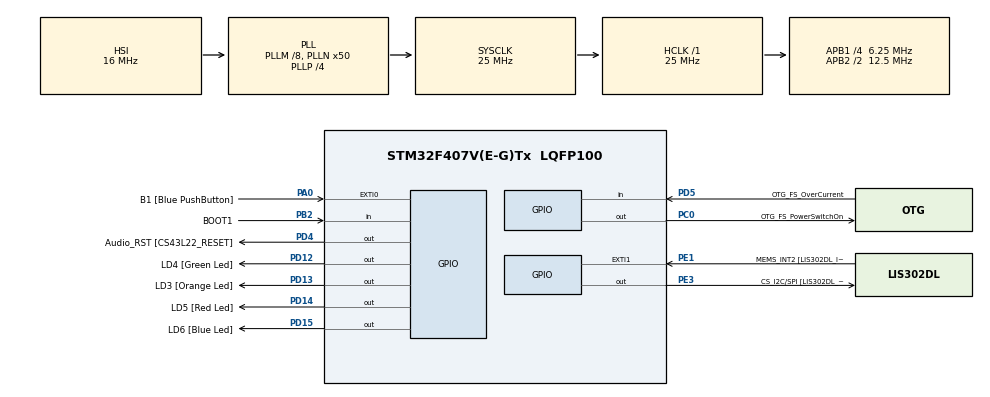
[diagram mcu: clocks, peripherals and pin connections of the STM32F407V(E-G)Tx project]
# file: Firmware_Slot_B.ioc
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Mcu.Family=STM32F4
Mcu.Name=STM32F407V(E-G)Tx
Mcu.Package=LQFP100
NVIC.PriorityGroup=NVIC_PRIORITYGROUP_0
PA0-WKUP.GPIO_Label=B1 [Blue PushButton]
PA0-WKUP.Signal=GPXTI0
PA10.GPIO_Label=OTG_FS_ID
PA10.GPIO_Mode=GPIO_MODE_AF_PP
PA10.GPIO_PuPd=GPIO_NOPULL
PA10.GPIO_Speed=GPIO_SPEED_FREQ_LOW
PA10.Signal=USB_OTG_FS_ID
PA11.GPIO_Label=OTG_FS_DM
PA11.GPIO_Mode=GPIO_MODE_AF_PP
PA11.GPIO_PuPd=GPIO_NOPULL
PA11.GPIO_Speed=GPIO_SPEED_FREQ_LOW
PA11.Signal=USB_OTG_FS_DM
PA12.GPIO_Label=OTG_FS_DP
PA12.GPIO_Mode=GPIO_MODE_AF_PP
PA12.GPIO_PuPd=GPIO_NOPULL
PA12.GPIO_Speed=GPIO_SPEED_FREQ_LOW
PA12.Signal=USB_OTG_FS_DP
PA13.GPIO_Label=SWDIO
PA13.Signal=SYS_JTMS-SWDIO
PA14.GPIO_Label=SWCLK
PA14.Signal=SYS_JTCK-SWCLK
PA4.GPIO_Label=I2S3_WS [CS43L22_LRCK]
PA4.GPIO_Mode=GPIO_MODE_AF_PP
PA4.GPIO_PuPd=GPIO_NOPULL
PA4.GPIO_Speed=GPIO_SPEED_FREQ_LOW
PA4.Signal=I2S3_WS
PA5.GPIO_Label=SPI1_SCK [LIS302DL_SCL/SPC]
PA5.GPIO_Mode=GPIO_MODE_AF_PP
PA5.GPIO_PuPd=GPIO_NOPULL
PA5.GPIO_Speed=GPIO_SPEED_FREQ_LOW
PA5.Signal=SPI1_SCK
PA6.GPIO_Label=SPI1_MISO [LIS302DL_SDO]
PA6.GPIO_Mode=GPIO_MODE_AF_PP
PA6.GPIO_PuPd=GPIO_NOPULL
PA6.GPIO_Speed=GPIO_SPEED_FREQ_LOW
PA6.Signal=SPI1_MISO
PA7.GPIO_Label=SPI1_MOSI [LIS302DL_SDA/SDI/SDO]
PA7.GPIO_Mode=GPIO_MODE_AF_PP
PA7.GPIO_PuPd=GPIO_NOPULL
PA7.GPIO_Speed=GPIO_SPEED_FREQ_LOW
PA7.Signal=SPI1_MOSI
PA9.GPIO_Label=VBUS_FS
PA9.GPIO_Mode=GPIO_MODE_INPUT
PA9.GPIO_PuPd=GPIO_NOPULL
PA9.Signal=USB_OTG_FS_VBUS
PB10.GPIO_Label=CLK_IN [MP45DT02_CLK]
PB10.GPIO_Mode=GPIO_MODE_AF_PP
PB10.GPIO_PuPd=GPIO_NOPULL
PB10.GPIO_Speed=GPIO_SPEED_FREQ_LOW
PB10.Signal=I2S2_CK
PB2.GPIO_Label=BOOT1
PB2.GPIO_Mode=GPIO_MODE_INPUT
PB2.GPIO_PuPd=GPIO_NOPULL
PB2.Signal=GPIO_Input
PB3.GPIO_Label=SWO
PB3.Signal=SYS_JTDO-SWO
PB6.GPIO_Label=Audio_SCL [CS43L22_SCL]
PB6.GPIO_Mode=GPIO_MODE_AF_OD
PB6.GPIO_PuPd=GPIO_NOPULL
PB6.GPIO_Speed=GPIO_SPEED_FREQ_LOW
PB6.Signal=I2C1_SCL
PB9.GPIO_Label=Audio_SDA [CS43L22_SDA]
PB9.GPIO_Mode=GPIO_MODE_AF_OD
PB9.GPIO_PuPd=GPIO_NOPULL
PB9.GPIO_Speed=GPIO_SPEED_FREQ_LOW
PB9.Signal=I2C1_SDA
PC0.GPIO_Label=OTG_FS_PowerSwitchOn
PC0.GPIO_PuPd=GPIO_NOPULL
PC0.GPIO_Speed=GPIO_SPEED_FREQ_LOW
PC0.PinState=GPIO_PIN_SET
PC0.Signal=GPIO_Output
PC10.GPIO_Label=I2S3_SCK [CS43L22_SCLK]
PC10.GPIO_Mode=GPIO_MODE_AF_PP
PC10.GPIO_PuPd=GPIO_NOPULL
PC10.GPIO_Speed=GPIO_SPEED_FREQ_LOW
PC10.Signal=I2S3_CK
PC12.GPIO_Label=I2S3_SD [CS43L22_SDIN]
PC12.GPIO_Mode=GPIO_MODE_AF_PP
PC12.GPIO_PuPd=GPIO_NOPULL
PC12.GPIO_Speed=GPIO_SPEED_FREQ_LOW
PC12.Signal=I2S3_SD
PC14-OSC32_IN.GPIO_Label=PC14-OSC32_IN
PC14-OSC32_IN.Signal=RCC_OSC32_IN
PC15-OSC32_OUT.GPIO_Label=PC15-OSC32_OUT
PC15-OSC32_OUT.Signal=RCC_OSC32_OUT
PC3.GPIO_Label=PDM_OUT [MP45DT02_DOUT]
PC3.GPIO_Mode=GPIO_MODE_AF_PP
PC3.GPIO_PuPd=GPIO_NOPULL
PC3.GPIO_Speed=GPIO_SPEED_FREQ_LOW
PC3.Signal=I2S2_SD
PC7.GPIO_Label=I2S3_MCK [CS43L22_MCLK]
PC7.GPIO_Mode=GPIO_MODE_AF_PP
PC7.GPIO_PuPd=GPIO_NOPULL
PC7.GPIO_Speed=GPIO_SPEED_FREQ_LOW
PC7.Signal=I2S3_MCK
PD12.GPIO_Label=LD4 [Green Led]
PD12.GPIO_PuPd=GPIO_NOPULL
PD12.GPIO_Speed=GPIO_SPEED_FREQ_LOW
PD12.Signal=GPIO_Output
PD13.GPIO_Label=LD3 [Orange Led]
PD13.GPIO_PuPd=GPIO_NOPULL
PD13.GPIO_Speed=GPIO_SPEED_FREQ_LOW
PD13.Signal=GPIO_Output
PD14.GPIO_Label=LD5 [Red Led]
PD14.GPIO_PuPd=GPIO_NOPULL
PD14.GPIO_Speed=GPIO_SPEED_FREQ_LOW
PD14.Signal=GPIO_Output
PD15.GPIO_Label=LD6 [Blue Led]
PD15.GPIO_PuPd=GPIO_NOPULL
PD15.GPIO_Speed=GPIO_SPEED_FREQ_LOW
PD15.Signal=GPIO_Output
PD4.GPIO_Label=Audio_RST [CS43L22_RESET]
PD4.GPIO_PuPd=GPIO_NOPULL
PD4.GPIO_Speed=GPIO_SPEED_FREQ_LOW
PD4.Signal=GPIO_Output
PD5.GPIO_Label=OTG_FS_OverCurrent
PD5.GPIO_Mode=GPIO_MODE_INPUT
PD5.GPIO_PuPd=GPIO_NOPULL
PD5.Signal=GPIO_Input
PE1.GPIO_Label=MEMS_INT2 [LIS302DL_INT2]
PE1.GPIO_ModeDefaultEXTI=GPIO_MODE_EVT_RISING
PE1.GPIO_PuPd=GPIO_NOPULL
PE1.Signal=GPXTI1
PE3.GPIO_Label=CS_I2C/SPI [LIS302DL_CS_I2C/SPI]
PE3.GPIO_PuPd=GPIO_NOPULL
PE3.GPIO_Speed=GPIO_SPEED_FREQ_LOW
PE3.Signal=GPIO_Output
PH0-OSC_IN.GPIO_Label=PH0-OSC_IN
PH0-OSC_IN.Signal=RCC_OSC_IN
PH1-OSC_OUT.GPIO_Label=PH1-OSC_OUT
PH1-OSC_OUT.Signal=RCC_OSC_OUT
ProjectManager.HeapSize=0x200
ProjectManager.StackSize=0x400
ProjectManager.TargetToolchain=STM32CubeIDE
RCC.48MHZClocksFreq_Value=14285714.285714285
RCC.AHBFreq_Value=25000000
RCC.APB1CLKDivider=RCC_HCLK_DIV4
RCC.APB1Freq_Value=6250000
RCC.APB1TimFreq_Value=12500000
RCC.APB2CLKDivider=RCC_HCLK_DIV2
RCC.APB2Freq_Value=12500000
RCC.APB2TimFreq_Value=25000000
RCC.CortexFreq_Value=25000000
RCC.HCLKFreq_Value=25000000
RCC.HSE_VALUE=8000000
RCC.HSI_VALUE=16000000
RCC.LSE_VALUE=32768
RCC.PLLM=8
RCC.PLLN=50
RCC.PLLP=RCC_PLLP_DIV4
RCC.PLLQ=7
RCC.SYSCLKFreq_VALUE=25000000
RCC.SYSCLKSource=RCC_SYSCLKSOURCE_PLLCLK
RCC.VCOOutputFreq_Value=100000000
VP_CRC_VS_CRC.Mode=CRC_Activate
VP_IWDG_VS_IWDG.Mode=IWDG_Activate
board=STM32F407G-DISC1

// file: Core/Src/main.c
/* USER CODE BEGIN Header */
/**
  ******************************************************************************
  * @file           : main.c
  * @brief          : Main program body
  ******************************************************************************
  * @attention
  *
  * Copyright (c) 2026 STMicroelectronics.
  * All rights reserved.
  *
  * This software is licensed under terms that can be found in the LICENSE file
  * in the root directory of this software component.
  * If no LICENSE file comes with this software, it is provided AS-IS.
  *
  ******************************************************************************
  */
/* USER CODE END Header */
#include "main.h"

/* USER CODE BEGIN Includes */
#include <stdio.h>
#include <string.h>
#include <stdint.h>
#include "metadata.h"
#include "flash_storage.h"
/* USER CODE END Includes */

CRC_HandleTypeDef hcrc;

IWDG_HandleTypeDef hiwdg;

void SystemClock_Config(void);
static void MX_GPIO_Init(void);
static void MX_CRC_Init(void);
static void MX_IWDG_Init(void);
/* USER CODE BEGIN PFP */
static HAL_StatusTypeDef Firmware_Confirm(void);
/* USER CODE END PFP */

/* USER CODE BEGIN 0 */
int __io_putchar(int ch)
{
    ITM_SendChar((uint32_t)ch);
    return ch;
}
/* USER CODE END 0 */

int main(void)
{

  /* USER CODE BEGIN 1 */
  bool firmware_confirmed = false;
  /* USER CODE END 1 */

  /* MCU Configuration--------------------------------------------------------*/

  /* Reset of all peripherals, Initializes the Flash interface and the Systick. */
  HAL_Init();

  /* Configure the system clock */
  SystemClock_Config();

  /* Initialize all configured peripherals */
  MX_GPIO_Init();
  MX_CRC_Init();
  MX_IWDG_Init();
  /* USER CODE BEGIN 2 */
  if (Firmware_Confirm() != HAL_OK)
  {
      printf("Slot B: firmware confirmation failed\r\n");
      printf("Slot B: Resetting firmware\r\n");

      NVIC_SystemReset();

      while (1)
      {
          /* Wait for reset */
      }
  }

  firmware_confirmed = true;
  /* USER CODE END 2 */

  /* Infinite loop */
  while (1)
  {

    /* USER CODE BEGIN 3 */
	if (firmware_confirmed)
	{
	    HAL_IWDG_Refresh(&hiwdg);
	}

	HAL_GPIO_TogglePin(GPIOD, LD6_Pin);
    HAL_Delay(500);
  }
  /* USER CODE END 3 */
}

void SystemClock_Config(void)
{
  RCC_OscInitTypeDef RCC_OscInitStruct = {0};
  RCC_ClkInitTypeDef RCC_ClkInitStruct = {0};

  /** Configure the main internal regulator output voltage
  */
  __HAL_RCC_PWR_CLK_ENABLE();
  __HAL_PWR_VOLTAGESCALING_CONFIG(PWR_REGULATOR_VOLTAGE_SCALE1);

  /** Initializes the RCC Oscillators according to the specified parameters
  * in the RCC_OscInitTypeDef structure.
  */
  RCC_OscInitStruct.OscillatorType = RCC_OSCILLATORTYPE_HSI|RCC_OSCILLATORTYPE_LSI;
  RCC_OscInitStruct.HSIState = RCC_HSI_ON;
  RCC_OscInitStruct.HSICalibrationValue = RCC_HSICALIBRATION_DEFAULT;
  RCC_OscInitStruct.LSIState = RCC_LSI_ON;
  RCC_OscInitStruct.PLL.PLLState = RCC_PLL_ON;
  RCC_OscInitStruct.PLL.PLLSource = RCC_PLLSOURCE_HSI;
  RCC_OscInitStruct.PLL.PLLM = 8;
  RCC_OscInitStruct.PLL.PLLN = 50;
  RCC_OscInitStruct.PLL.PLLP = RCC_PLLP_DIV4;
  RCC_OscInitStruct.PLL.PLLQ = 7;
  if (HAL_RCC_OscConfig(&RCC_OscInitStruct) != HAL_OK)
  {
    Error_Handler();
  }

  /** Initializes the CPU, AHB and APB buses clocks
  */
  RCC_ClkInitStruct.ClockType = RCC_CLOCKTYPE_HCLK|RCC_CLOCKTYPE_SYSCLK
                              |RCC_CLOCKTYPE_PCLK1|RCC_CLOCKTYPE_PCLK2;
  RCC_ClkInitStruct.SYSCLKSource = RCC_SYSCLKSOURCE_PLLCLK;
  RCC_ClkInitStruct.AHBCLKDivider = RCC_SYSCLK_DIV1;
  RCC_ClkInitStruct.APB1CLKDivider = RCC_HCLK_DIV4;
  RCC_ClkInitStruct.APB2CLKDivider = RCC_HCLK_DIV2;

  if (HAL_RCC_ClockConfig(&RCC_ClkInitStruct, FLASH_LATENCY_0) != HAL_OK)
  {
    Error_Handler();
  }
}

static void MX_CRC_Init(void)
{

  hcrc.Instance = CRC;
  if (HAL_CRC_Init(&hcrc) != HAL_OK)
  {
    Error_Handler();
  }

}

static void MX_IWDG_Init(void)
{

  hiwdg.Instance = IWDG;
  hiwdg.Init.Prescaler = IWDG_PRESCALER_4;
  hiwdg.Init.Reload = 4095;
  if (HAL_IWDG_Init(&hiwdg) != HAL_OK)
  {
    Error_Handler();
  }

}

static void MX_GPIO_Init(void)
{
  GPIO_InitTypeDef GPIO_InitStruct = {0};

  /* GPIO Ports Clock Enable */
  __HAL_RCC_GPIOE_CLK_ENABLE();
  __HAL_RCC_GPIOC_CLK_ENABLE();
  __HAL_RCC_GPIOH_CLK_ENABLE();
  __HAL_RCC_GPIOA_CLK_ENABLE();
  __HAL_RCC_GPIOB_CLK_ENABLE();
  __HAL_RCC_GPIOD_CLK_ENABLE();

  /*Configure GPIO pin Output Level */
  HAL_GPIO_WritePin(CS_I2C_SPI_GPIO_Port, CS_I2C_SPI_Pin, GPIO_PIN_RESET);

  /*Configure GPIO pin Output Level */
  HAL_GPIO_WritePin(OTG_FS_PowerSwitchOn_GPIO_Port, OTG_FS_PowerSwitchOn_Pin, GPIO_PIN_SET);

  /*Configure GPIO pin Output Level */
  HAL_GPIO_WritePin(GPIOD, LD4_Pin|LD3_Pin|LD5_Pin|LD6_Pin
                          |Audio_RST_Pin, GPIO_PIN_RESET);

  /*Configure GPIO pin : CS_I2C_SPI_Pin */
  GPIO_InitStruct.Pin = CS_I2C_SPI_Pin;
  GPIO_InitStruct.Mode = GPIO_MODE_OUTPUT_PP;
  GPIO_InitStruct.Pull = GPIO_NOPULL;
  GPIO_InitStruct.Speed = GPIO_SPEED_FREQ_LOW;
  HAL_GPIO_Init(CS_I2C_SPI_GPIO_Port, &GPIO_InitStruct);

  /*Configure GPIO pin : OTG_FS_PowerSwitchOn_Pin */
  GPIO_InitStruct.Pin = OTG_FS_PowerSwitchOn_Pin;
  GPIO_InitStruct.Mode = GPIO_MODE_OUTPUT_PP;
  GPIO_InitStruct.Pull = GPIO_NOPULL;
  GPIO_InitStruct.Speed = GPIO_SPEED_FREQ_LOW;
  HAL_GPIO_Init(OTG_FS_PowerSwitchOn_GPIO_Port, &GPIO_InitStruct);

  /*Configure GPIO pin : PDM_OUT_Pin */
  GPIO_InitStruct.Pin = PDM_OUT_Pin;
  GPIO_InitStruct.Mode = GPIO_MODE_AF_PP;
  GPIO_InitStruct.Pull = GPIO_NOPULL;
  GPIO_InitStruct.Speed = GPIO_SPEED_FREQ_LOW;
  GPIO_InitStruct.Alternate = GPIO_AF5_SPI2;
  HAL_GPIO_Init(PDM_OUT_GPIO_Port, &GPIO_InitStruct);

  /*Configure GPIO pin : B1_Pin */
  GPIO_InitStruct.Pin = B1_Pin;
  GPIO_InitStruct.Mode = GPIO_MODE_IT_RISING;
  GPIO_InitStruct.Pull = GPIO_NOPULL;
  HAL_GPIO_Init(B1_GPIO_Port, &GPIO_InitStruct);

  /*Configure GPIO pin : I2S3_WS_Pin */
  GPIO_InitStruct.Pin = I2S3_WS_Pin;
  GPIO_InitStruct.Mode = GPIO_MODE_AF_PP;
  GPIO_InitStruct.Pull = GPIO_NOPULL;
  GPIO_InitStruct.Speed = GPIO_SPEED_FREQ_LOW;
  GPIO_InitStruct.Alternate = GPIO_AF6_SPI3;
  HAL_GPIO_Init(I2S3_WS_GPIO_Port, &GPIO_InitStruct);

  /*Configure GPIO pins : SPI1_SCK_Pin SPI1_MISO_Pin SPI1_MOSI_Pin */
  GPIO_InitStruct.Pin = SPI1_SCK_Pin|SPI1_MISO_Pin|SPI1_MOSI_Pin;
  GPIO_InitStruct.Mode = GPIO_MODE_AF_PP;
  GPIO_InitStruct.Pull = GPIO_NOPULL;
  GPIO_InitStruct.Speed = GPIO_SPEED_FREQ_LOW;
  GPIO_InitStruct.Alternate = GPIO_AF5_SPI1;
  HAL_GPIO_Init(GPIOA, &GPIO_InitStruct);

  /*Configure GPIO pin : BOOT1_Pin */
  GPIO_InitStruct.Pin = BOOT1_Pin;
  GPIO_InitStruct.Mode = GPIO_MODE_INPUT;
  GPIO_InitStruct.Pull = GPIO_NOPULL;
  HAL_GPIO_Init(BOOT1_GPIO_Port, &GPIO_InitStruct);

  /*Configure GPIO pin : CLK_IN_Pin */
  GPIO_InitStruct.Pin = CLK_IN_Pin;
  GPIO_InitStruct.Mode = GPIO_MODE_AF_PP;
  GPIO_InitStruct.Pull = GPIO_NOPULL;
  GPIO_InitStruct.Speed = GPIO_SPEED_FREQ_LOW;
  GPIO_InitStruct.Alternate = GPIO_AF5_SPI2;
  HAL_GPIO_Init(CLK_IN_GPIO_Port, &GPIO_InitStruct);

  /*Configure GPIO pins : LD4_Pin LD3_Pin LD5_Pin LD6_Pin
                           Audio_RST_Pin */
  GPIO_InitStruct.Pin = LD4_Pin|LD3_Pin|LD5_Pin|LD6_Pin
                          |Audio_RST_Pin;
  GPIO_InitStruct.Mode = GPIO_MODE_OUTPUT_PP;
  GPIO_InitStruct.Pull = GPIO_NOPULL;
  GPIO_InitStruct.Speed = GPIO_SPEED_FREQ_LOW;
  HAL_GPIO_Init(GPIOD, &GPIO_InitStruct);

  /*Configure GPIO pins : I2S3_MCK_Pin I2S3_SCK_Pin I2S3_SD_Pin */
  GPIO_InitStruct.Pin = I2S3_MCK_Pin|I2S3_SCK_Pin|I2S3_SD_Pin;
  GPIO_InitStruct.Mode = GPIO_MODE_AF_PP;
  GPIO_InitStruct.Pull = GPIO_NOPULL;
  GPIO_InitStruct.Speed = GPIO_SPEED_FREQ_LOW;
  GPIO_InitStruct.Alternate = GPIO_AF6_SPI3;
  HAL_GPIO_Init(GPIOC, &GPIO_InitStruct);

  /*Configure GPIO pin : VBUS_FS_Pin */
  GPIO_InitStruct.Pin = VBUS_FS_Pin;
  GPIO_InitStruct.Mode = GPIO_MODE_INPUT;
  GPIO_InitStruct.Pull = GPIO_NOPULL;
  HAL_GPIO_Init(VBUS_FS_GPIO_Port, &GPIO_InitStruct);

  /*Configure GPIO pins : OTG_FS_ID_Pin OTG_FS_DM_Pin OTG_FS_DP_Pin */
  GPIO_InitStruct.Pin = OTG_FS_ID_Pin|OTG_FS_DM_Pin|OTG_FS_DP_Pin;
  GPIO_InitStruct.Mode = GPIO_MODE_AF_PP;
  GPIO_InitStruct.Pull = GPIO_NOPULL;
  GPIO_InitStruct.Speed = GPIO_SPEED_FREQ_LOW;
  GPIO_InitStruct.Alternate = GPIO_AF10_OTG_FS;
  HAL_GPIO_Init(GPIOA, &GPIO_InitStruct);

  /*Configure GPIO pin : OTG_FS_OverCurrent_Pin */
  GPIO_InitStruct.Pin = OTG_FS_OverCurrent_Pin;
  GPIO_InitStruct.Mode = GPIO_MODE_INPUT;
  GPIO_InitStruct.Pull = GPIO_NOPULL;
  HAL_GPIO_Init(OTG_FS_OverCurrent_GPIO_Port, &GPIO_InitStruct);

  /*Configure GPIO pins : Audio_SCL_Pin Audio_SDA_Pin */
  GPIO_InitStruct.Pin = Audio_SCL_Pin|Audio_SDA_Pin;
  GPIO_InitStruct.Mode = GPIO_MODE_AF_OD;
  GPIO_InitStruct.Pull = GPIO_NOPULL;
  GPIO_InitStruct.Speed = GPIO_SPEED_FREQ_LOW;
  GPIO_InitStruct.Alternate = GPIO_AF4_I2C1;
  HAL_GPIO_Init(GPIOB, &GPIO_InitStruct);

  /*Configure GPIO pin : MEMS_INT2_Pin */
  GPIO_InitStruct.Pin = MEMS_INT2_Pin;
  GPIO_InitStruct.Mode = GPIO_MODE_EVT_RISING;
  GPIO_InitStruct.Pull = GPIO_NOPULL;
  HAL_GPIO_Init(MEMS_INT2_GPIO_Port, &GPIO_InitStruct);

}

/* USER CODE BEGIN 4 */
static HAL_StatusTypeDef Firmware_Confirm(void)
{
    firmware_metadata_record_t latest_record;
    firmware_metadata_t confirmed_metadata;
    HAL_StatusTypeDef status;

    /* Read the latest Slot A metadata record */
    if (!Metadata_ReadLatestRecord(
            SLOT_B_METADATA_ADDRESS,
            SLOT_B_METADATA_REGION_END,
            &latest_record))
    {
        printf("Slot B: metadata read failed\r\n");
        return HAL_ERROR;
    }

    /*
     * A firmware is confirmed only when the bootloader
     * has promoted it and marked it BOOT_PENDING.
     */
    if (latest_record.metadata.update_state ==
        FIRMWARE_STATE_CONFIRMED)
    {
        printf("Slot B: firmware already CONFIRMED\r\n");
        return HAL_OK;
    }

    if (latest_record.metadata.update_state !=
        FIRMWARE_STATE_BOOT_PENDING)
    {
        printf(
            "Slot B: firmware is not BOOT_PENDING, state: %lu\r\n",
            (unsigned long)latest_record.metadata.update_state);

        return HAL_ERROR;
    }

    printf("Slot B: trial firmware detected\r\n");

    /* Copy existing metadata and change only the state */
    confirmed_metadata = latest_record.metadata;
    confirmed_metadata.update_state = FIRMWARE_STATE_CONFIRMED;

    /*
     * Append a new metadata record rather than modifying
     * the existing BOOT_PENDING record.
     */
    status = Metadata_WriteRecord(
        SLOT_B_METADATA_ADDRESS,
        SLOT_B_METADATA_REGION_END,
        FLASH_SECTOR_3,
        FLASH_VOLTAGE_RANGE_3,
        &confirmed_metadata);

    if (status != HAL_OK)
    {
        printf("Slot B: confirmation write failed\r\n");
        return HAL_ERROR;
    }

    /* Read back and verify the persisted state */
    if (!Metadata_ReadLatestRecord(
            SLOT_B_METADATA_ADDRESS,
            SLOT_B_METADATA_REGION_END,
            &latest_record))
    {
        printf("Slot B: confirmation verification failed\r\n");
        return HAL_ERROR;
    }

    if (latest_record.metadata.update_state !=
        FIRMWARE_STATE_CONFIRMED)
    {
        printf("Slot B: confirmation state mismatch\r\n");
        return HAL_ERROR;
    }

    printf("Slot B: firmware CONFIRMED\r\n");

    return HAL_OK;
}
/* USER CODE END 4 */

void Error_Handler(void)
{
  __disable_irq();
  while (1)
  {
  }
}
